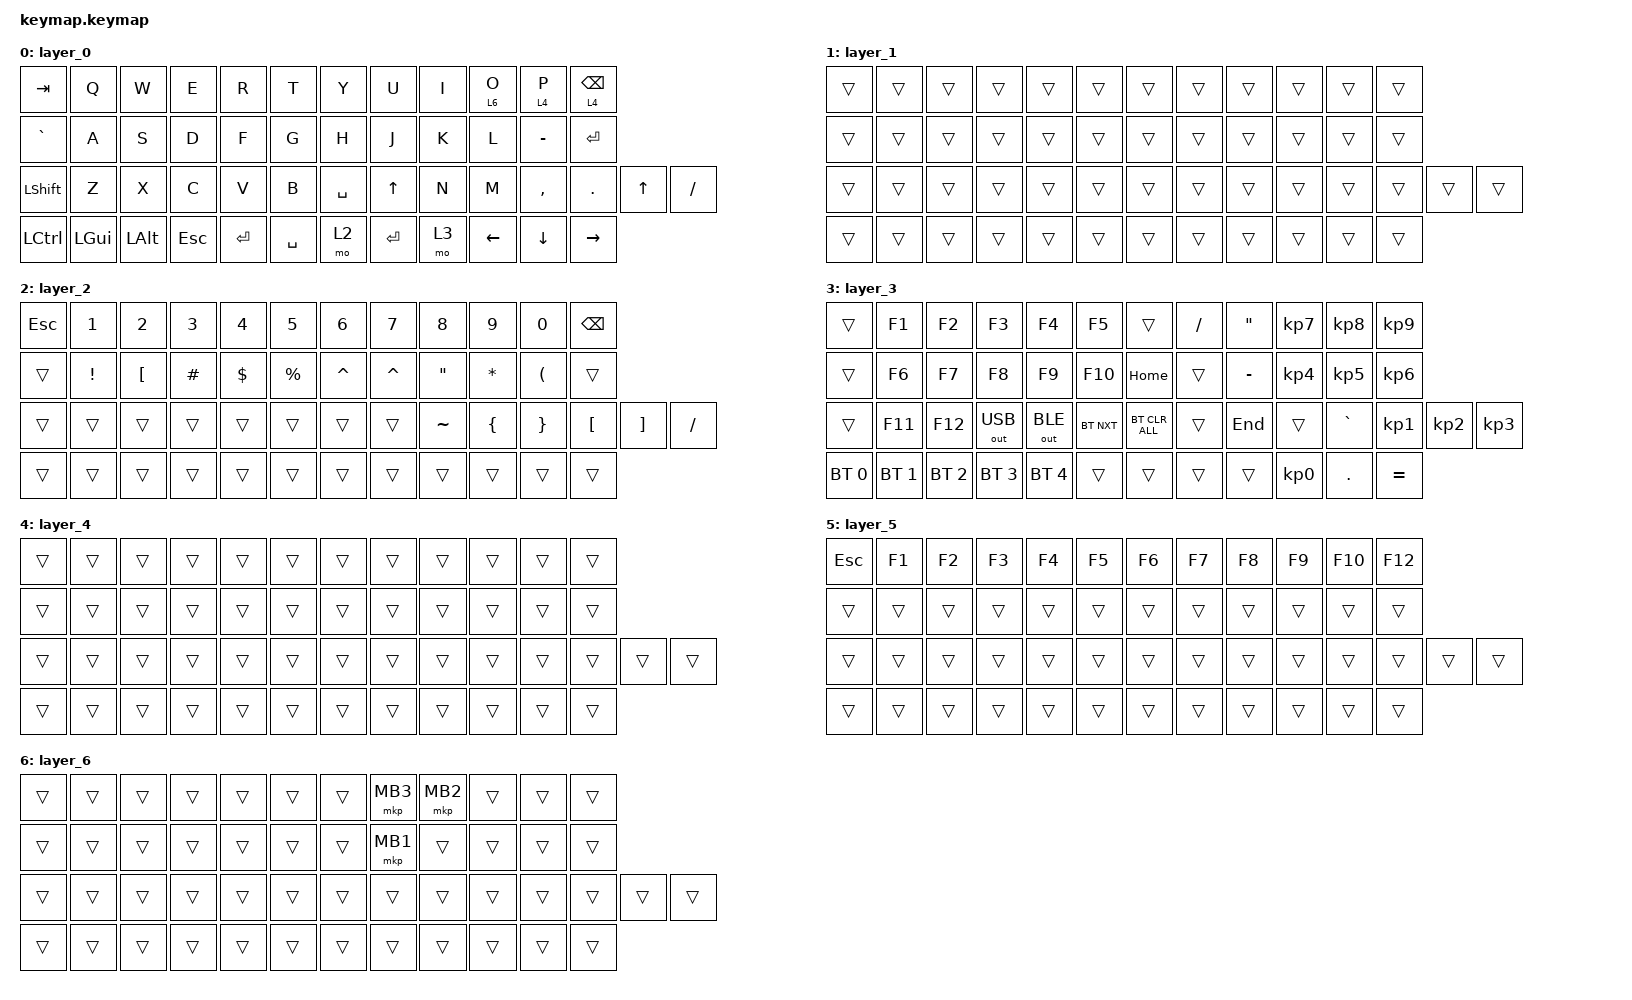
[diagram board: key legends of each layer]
#include <behaviors.dtsi>
#include <dt-bindings/zmk/bt.h>
#include <dt-bindings/zmk/keys.h>
#include <dt-bindings/zmk/outputs.h>
#include <dt-bindings/zmk/pointing.h>

/ {
    combos {
        compatible = "zmk,combos";

        bt_clear {
            bindings = <&bt BT_CLR>;
            key-positions = <28 29>;
            layers = <2>;
        };
    };

    keymap {
        compatible = "zmk,keymap";

        layer_0 {
            bindings = <
&kp TAB    &kp Q         &kp W         &kp E       &kp R      &kp T      &kp Y      &kp U         &kp I  &lt 6 O         &lt 4 P         &lt 4 BACKSPACE
&kp GRAVE  &kp A         &kp S         &kp D       &kp F      &kp G      &kp H      &kp J         &kp K  &kp L           &kp MINUS       &kp ENTER
&kp LSHFT  &kp Z         &kp X         &kp C       &kp V      &kp B      &kp SPACE  &kp UP_ARROW  &kp N  &kp M           &kp COMMA       &kp DOT          &kp UP_ARROW  &kp SLASH
&kp LCTRL  &kp LEFT_GUI  &kp LEFT_ALT  &kp ESCAPE  &kp ENTER  &kp SPACE  &mo 2      &kp ENTER     &mo 3  &kp LEFT_ARROW  &kp DOWN_ARROW  &kp RIGHT_ARROW
            >;
        };

        layer_1 {
            bindings = <
&trans  &trans  &trans  &trans  &trans  &trans  &trans  &trans  &trans  &trans  &trans  &trans
&trans  &trans  &trans  &trans  &trans  &trans  &trans  &trans  &trans  &trans  &trans  &trans
&trans  &trans  &trans  &trans  &trans  &trans  &trans  &trans  &trans  &trans  &trans  &trans  &trans  &trans
&trans  &trans  &trans  &trans  &trans  &trans  &trans  &trans  &trans  &trans  &trans  &trans
            >;
        };

        layer_2 {
            bindings = <
&kp ESCAPE  &kp N1    &kp N2            &kp N3    &kp N4      &kp N5     &kp N6     &kp N7     &kp N8             &kp N9          &kp N0                &kp BACKSPACE
&trans      &kp EXCL  &kp LEFT_BRACKET  &kp HASH  &kp DOLLAR  &kp PRCNT  &kp CARET  &kp CARET  &kp DOUBLE_QUOTES  &kp ASTRK       &kp LEFT_PARENTHESIS  &trans
&trans      &trans    &trans            &trans    &trans      &trans     &trans     &trans     &kp TILDE          &kp LEFT_BRACE  &kp RIGHT_BRACE       &kp LEFT_BRACKET  &kp RIGHT_BRACKET  &kp SLASH
&trans      &trans    &trans            &trans    &trans      &trans     &trans     &trans     &trans             &trans          &trans                &trans
            >;
        };

        layer_3 {
            bindings = <
&trans        &kp F1        &kp F2        &kp F3        &kp F4        &kp F5      &trans          &kp FSLH  &kp DOUBLE_QUOTES  &kp KP_NUMBER_7  &kp KP_NUMBER_8  &kp KP_NUMBER_9
&trans        &kp F6        &kp F7        &kp F8        &kp F9        &kp F10     &kp HOME        &trans    &kp MINUS          &kp KP_NUMBER_4  &kp KP_NUMBER_5  &kp KP_NUMBER_6
&trans        &kp F11       &kp F12       &out OUT_USB  &out OUT_BLE  &bt BT_NXT  &bt BT_CLR_ALL  &trans    &kp END            &trans           &kp GRAVE        &kp KP_NUMBER_1  &kp KP_NUMBER_2  &kp KP_NUMBER_3
&bt BT_SEL 0  &bt BT_SEL 1  &bt BT_SEL 2  &bt BT_SEL 3  &bt BT_SEL 4  &trans      &trans          &trans    &trans             &kp KP_NUMBER_0  &kp DOT          &kp EQUAL
            >;
        };

        layer_4 {
            bindings = <
&trans  &trans  &trans  &trans  &trans  &trans  &trans  &trans  &trans  &trans  &trans  &trans
&trans  &trans  &trans  &trans  &trans  &trans  &trans  &trans  &trans  &trans  &trans  &trans
&trans  &trans  &trans  &trans  &trans  &trans  &trans  &trans  &trans  &trans  &trans  &trans  &trans  &trans
&trans  &trans  &trans  &trans  &trans  &trans  &trans  &trans  &trans  &trans  &trans  &trans
            >;
        };

        layer_5 {
            bindings = <
&kp ESC  &kp F1  &kp F2  &kp F3  &kp F4  &kp F5  &kp F6  &kp F7  &kp F8  &kp F9  &kp F10  &kp F12
&trans   &trans  &trans  &trans  &trans  &trans  &trans  &trans  &trans  &trans  &trans   &trans
&trans   &trans  &trans  &trans  &trans  &trans  &trans  &trans  &trans  &trans  &trans   &trans   &trans  &trans
&trans   &trans  &trans  &trans  &trans  &trans  &trans  &trans  &trans  &trans  &trans   &trans
            >;
        };

        layer_6 {
            bindings = <
&trans  &trans  &trans  &trans  &trans  &trans  &trans  &mkp MB3  &mkp MB2  &trans  &trans  &trans
&trans  &trans  &trans  &trans  &trans  &trans  &trans  &mkp MB1  &trans    &trans  &trans  &trans
&trans  &trans  &trans  &trans  &trans  &trans  &trans  &trans    &trans    &trans  &trans  &trans  &trans  &trans
&trans  &trans  &trans  &trans  &trans  &trans  &trans  &trans    &trans    &trans  &trans  &trans
            >;
        };
    };
};
